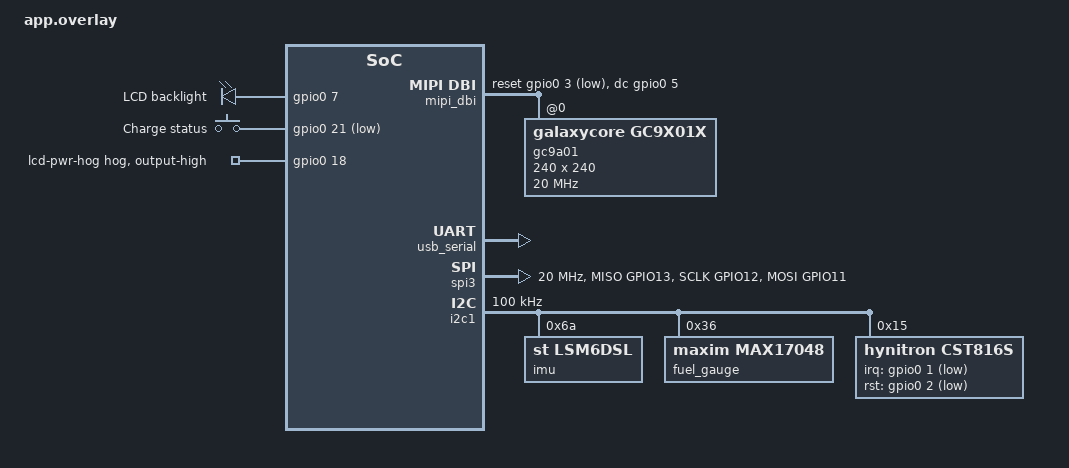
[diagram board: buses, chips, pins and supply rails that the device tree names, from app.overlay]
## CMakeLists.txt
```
cmake_minimum_required(VERSION 3.20.0)

set(BOARD esp32s3_devkitc/esp32s3/procpu CACHE STRING "Default Zephyr board")

find_package(Zephyr REQUIRED HINTS $ENV{ZEPHYR_BASE})
project(hacktor_watch)

target_sources(app PRIVATE
    src/main.c
    src/app_state.h
    src/display_manager.c
    src/graphics.c
    src/watchface.c
    src/backlight.c
    src/battery_monitor.c
    src/imu.c
    src/steps.c
    src/time_keeper.c
    src/info_screen.c
    src/power_manager.c
    src/system_stats.c
)

target_include_directories(app PRIVATE src)
```

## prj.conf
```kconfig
CONFIG_CONSOLE=y
CONFIG_UART_CONSOLE=y
CONFIG_SERIAL=y
CONFIG_SERIAL_ESP32_USB=y
CONFIG_SHELL=y
CONFIG_SHELL_BACKEND_SERIAL=y
CONFIG_SHELL_PROMPT_UART="hacktor:~$ "
CONFIG_SHELL_STACK_SIZE=4096
CONFIG_GPIO=y
CONFIG_PRINTK=y
CONFIG_SPI=y
CONFIG_I2C=y
CONFIG_SENSOR=y
CONFIG_LSM6DSL=y
CONFIG_DISPLAY=y
CONFIG_GC9X01X=y
CONFIG_MIPI_DBI=y
CONFIG_MIPI_DBI_SPI=y
CONFIG_FUEL_GAUGE=y
CONFIG_MAX17048=y
CONFIG_LOG=y
CONFIG_MAIN_STACK_SIZE=8192
CONFIG_NEWLIB_LIBC=y
CONFIG_NEWLIB_LIBC_FLOAT_PRINTF=y
CONFIG_CBPRINTF_FP_SUPPORT=y
```

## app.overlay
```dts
#include <zephyr/dt-bindings/display/panel.h>
#include <zephyr/dt-bindings/gpio/gpio.h>
#include <zephyr/dt-bindings/i2c/i2c.h>
#include <zephyr/dt-bindings/input/input-event-codes.h>
#include <zephyr/dt-bindings/pinctrl/esp-pinctrl-common.h>
#include <zephyr/dt-bindings/pinctrl/esp32s3-gpio-sigmap.h>
#include <zephyr/dt-bindings/pinctrl/esp32s3-pinctrl.h>

/ {
	chosen {
		zephyr,console = &usb_serial;
		zephyr,shell-uart = &usb_serial;
		zephyr,display = &gc9a01;
		zephyr,touch = &cst816s;
	};

	mipi_dbi {
		compatible = "zephyr,mipi-dbi-spi";
		spi-dev = <&spi3>;
		dc-gpios = <&gpio0 5 GPIO_ACTIVE_HIGH>;
		reset-gpios = <&gpio0 3 GPIO_ACTIVE_LOW>;
		write-only;
		#address-cells = <1>;
		#size-cells = <0>;

		gc9a01: gc9a01@0 {
			compatible = "galaxycore,gc9x01x";
			reg = <0>;
			status = "okay";
			
			orientation = "180";
			mipi-max-frequency = <20000000>;
			mipi-mode = "MIPI_DBI_MODE_SPI_4WIRE";
			pixel-format = <PANEL_PIXEL_FORMAT_RGB_565>;
			width = <240>;
			height = <240>;
			display-inversion;
		};
	};

	leds {
		compatible = "gpio-leds";

		lcd_backlight: lcd_backlight {
			gpios = <&gpio0 7 GPIO_ACTIVE_HIGH>;
			label = "LCD backlight";
		};
	};

	charger_inputs {
		compatible = "gpio-keys";

		charger_status: charger_status {
			gpios = <&gpio0 21 (GPIO_PULL_UP | GPIO_ACTIVE_LOW)>;
			label = "Charge status";
			zephyr,code = <INPUT_KEY_F24>;
		};
	};
};

&usb_serial {
	status = "okay";
};

&pinctrl {
	/* LCD is wired to SPI3 on GPIO12/11/13. */
	spim3_lcd_default: spim3_lcd_default {
		group1 {
			pinmux = <SPIM3_MISO_GPIO13>, <SPIM3_SCLK_GPIO12>;
		};

		group2 {
			pinmux = <SPIM3_MOSI_GPIO11>;
			output-low;
		};
	};

	i2c1_touch_default: i2c1_touch_default {
		group1 {
			pinmux = <I2C1_SDA_GPIO8>, <I2C1_SCL_GPIO9>;
			bias-pull-up;
			drive-open-drain;
			output-high;
		};
	};
};

&spi3 {
	#address-cells = <1>;
	#size-cells = <0>;
	status = "okay";
	pinctrl-0 = <&spim3_lcd_default>;
	pinctrl-names = "default";
	clock-frequency = <20000000>;
	cs-gpios = <&gpio0 4 GPIO_ACTIVE_LOW>;
};

&i2c1 {
	status = "okay";
	clock-frequency = <I2C_BITRATE_STANDARD>;
	pinctrl-0 = <&i2c1_touch_default>;
	pinctrl-names = "default";

	imu: lsm6dsl@6a {
		compatible = "st,lsm6dsl";
		reg = <0x6a>;
		status = "okay";
	};

	fuel_gauge: max17048@36 {
		compatible = "maxim,max17048";
		reg = <0x36>;
		status = "okay";
		
	};

	cst816s: cst81xx@15 {
		compatible = "hynitron,cst816s";
		reg = <0x15>;
		status = "okay";
		
		irq-gpios = <&gpio0 1 (GPIO_PULL_UP | GPIO_ACTIVE_LOW)>;
		rst-gpios = <&gpio0 2 GPIO_ACTIVE_LOW>;
	};
};

&gpio0 {
	lcd-pwr-hog {
		gpio-hog;
		gpios = <18 GPIO_ACTIVE_HIGH>;
		output-high;
	};
};

&{/buttons} {
	imu_wake1 {
		gpios = <&gpio0 17 GPIO_ACTIVE_HIGH>;
		label = "IMU INT1";
		zephyr,code = <INPUT_KEY_WAKEUP>;
	};

	imu_wake2 {
		gpios = <&gpio0 14 GPIO_ACTIVE_HIGH>;
		label = "IMU INT2";
		zephyr,code = <INPUT_KEY_WAKEUP>;
	};
};
```

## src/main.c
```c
#include <zephyr/kernel.h>
#include <zephyr/device.h>
#include <zephyr/drivers/gpio.h>
#include <zephyr/input/input.h>
#include <time.h>

#include "app_state.h"
#include "display_manager.h"
#include "graphics.h"
#include "watchface.h"
#include "backlight.h"
#include "battery_monitor.h"
#include "imu.h"
#include "steps.h"
#include "info_screen.h"
#include "time_keeper.h"
#include <zephyr/logging/log.h>
LOG_MODULE_REGISTER(hacktor, LOG_LEVEL_INF);

#define BTN0_NODE DT_ALIAS(sw0)
static const struct gpio_dt_spec btn0 = GPIO_DT_SPEC_GET(BTN0_NODE, gpios);

static struct app_runtime global_runtime;

struct app_runtime *app_state_get(void) {
    return &global_runtime;
}

static void handle_info_button(const struct device *display) {
    static bool last_pressed = false;
    bool pressed = false;
    if (gpio_is_ready_dt(&btn0)) {
        pressed = gpio_pin_get_dt(&btn0) > 0;
    }

    if (pressed && !last_pressed) {
        struct app_runtime *rt = app_state_get();
        rt->power.display_on = true;
        rt->power.display_expire_ms = k_uptime_get_32() + 10000;
        rt->display.full_refresh = true;

        if (rt->display.active_screen == SCREEN_WATCHFACE) {
            rt->display.active_screen = SCREEN_INFO;
        } else {
            rt->display.active_screen = SCREEN_WATCHFACE;
            watchface_draw_full(display, rt);
        }
    }
    last_pressed = pressed;
}

static void refresh_display_if_needed(const struct device *display) {
    struct app_runtime *rt = app_state_get();
    if (!rt->power.display_on) return;

    uint32_t now = k_uptime_get_32();
    uint32_t elapsed_s = (now - rt->display.last_tick_ms) / 1000;
    if (elapsed_s == 0) return;

    time_keeper_apply_elapsed_walltime(elapsed_s);
    rt->display.last_tick_ms += elapsed_s * 1000;

    if (rt->display.active_screen == SCREEN_WATCHFACE) {
        watchface_draw_full(display, rt);
    } else if (rt->display.active_screen == SCREEN_INFO) {
        info_screen_draw(display, rt);
    }
}

int main(void) {
    if (gpio_is_ready_dt(&btn0)) {
        gpio_pin_configure_dt(&btn0, GPIO_INPUT | GPIO_PULL_UP);
    }

    display_manager_init();
    const struct device *display = display_manager_get_device();
    display_manager_reinitialize_after_wake();

    backlight_init();
    watchface_init();
    battery_monitor_init();
    imu_init();
    uint16_t initial_steps = 0;
    if (imu_wait_who_am_i(400)) {
        imu_soft_reset();
        imu_enable_hardware_pedometer(&initial_steps);
        imu_enable_tilt_on_int2();
    }
    steps_init(initial_steps);
    time_keeper_init();

    struct app_runtime *rt = app_state_get();
    rt->display.last_tick_ms = k_uptime_get_32();
    rt->display.active_screen = SCREEN_WATCHFACE;
    rt->power.display_on = true;
    rt->power.display_expire_ms = rt->display.last_tick_ms + 10000;

    graphics_fill_screen(display, 0x0000); // COLOR_BG
    watchface_draw_full(display, rt);
    backlight_set_duty(255);

    while (1) {
        handle_info_button(display);
        refresh_display_if_needed(display);
        battery_monitor_poll();
        steps_poll();
        
        if (rt->power.display_on && k_uptime_get_32() > rt->power.display_expire_ms) {
            rt->power.display_on = false;
            backlight_set_duty(0);
        }

        k_msleep(50);
    }
    return 0;
}
```

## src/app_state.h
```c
#ifndef APP_STATE_H_
#define APP_STATE_H_

#include <stdint.h>
#include <stdbool.h>
#include <time.h>

typedef enum {
    SCREEN_WATCHFACE,
    SCREEN_INFO
} screen_t;

struct display_state {
    struct tm current_time;
    uint32_t last_tick_ms;
    uint32_t rtc_base_ms;
    screen_t active_screen;
    bool full_refresh;
    uint32_t info_shown_version;
    int info_last_drawn_second;
    int prev_hour_x, prev_hour_y;
    int prev_min_x, prev_min_y;
    int prev_sec_x, prev_sec_y;
    int prev_sec_tail_x, prev_sec_tail_y;
};

struct power_state {
    bool display_on;
    uint32_t display_expire_ms;
    bool pending_sleep;
    bool pending_panel_off;
    volatile bool tilt_irq_flag;
};

struct battery_state {
    uint8_t percent;
    float voltage;
    uint32_t last_poll_ms;
};

struct app_runtime {
    struct display_state display;
    struct power_state power;
    struct battery_state battery;
};

struct app_runtime *app_state_get(void);

#endif /* APP_STATE_H_ */
```

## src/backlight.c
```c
#include "backlight.h"
#include <zephyr/drivers/gpio.h>
#include <zephyr/device.h>

#define BACKLIGHT_NODE DT_NODELABEL(lcd_backlight)
static const struct gpio_dt_spec lcd_bl = GPIO_DT_SPEC_GET(BACKLIGHT_NODE, gpios);

void backlight_init(void) {
    if (gpio_is_ready_dt(&lcd_bl)) {
        gpio_pin_configure_dt(&lcd_bl, GPIO_OUTPUT_ACTIVE);
    }
}

void backlight_set_duty(uint8_t duty) {
    if (gpio_is_ready_dt(&lcd_bl)) {
        gpio_pin_set_dt(&lcd_bl, duty > 0 ? 1 : 0);
    }
}
```

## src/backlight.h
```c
#ifndef BACKLIGHT_H_
#define BACKLIGHT_H_

#include <stdint.h>

void backlight_init(void);
void backlight_set_duty(uint8_t duty);

#endif /* BACKLIGHT_H_ */
```

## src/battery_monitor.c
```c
#include "battery_monitor.h"
#include "app_state.h"
#include <zephyr/kernel.h>
#include <zephyr/device.h>
#include <zephyr/drivers/fuel_gauge.h>
#include <zephyr/logging/log.h>
LOG_MODULE_DECLARE(hacktor, LOG_LEVEL_INF);

#define FG_NODE DT_NODELABEL(fuel_gauge)
static const struct device *fg_dev = DEVICE_DT_GET(FG_NODE);

void battery_monitor_init(void) {
    if (!device_is_ready(fg_dev)) {
        LOG_ERR("Fuel gauge device not ready");
    }
}

void battery_monitor_poll(void) {
    struct app_runtime *rt = app_state_get();
    if (rt->battery.last_poll_ms != 0 && (k_uptime_get_32() - rt->battery.last_poll_ms < 60000)) return;

    if (!device_is_ready(fg_dev)) return;

    union fuel_gauge_prop_val val;

    if (fuel_gauge_get_prop(fg_dev, FUEL_GAUGE_RELATIVE_STATE_OF_CHARGE, &val) == 0) {
        rt->battery.percent = val.relative_state_of_charge;
    }

    if (fuel_gauge_get_prop(fg_dev, FUEL_GAUGE_VOLTAGE, &val) == 0) {
        // Zephyr voltage is in microvolts (uV)
        rt->battery.voltage = (float)val.voltage / 1000000.0f;
    }

    rt->battery.last_poll_ms = k_uptime_get_32();
}
```

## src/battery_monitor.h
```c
#ifndef BATTERY_MONITOR_H_
#define BATTERY_MONITOR_H_

void battery_monitor_init(void);
void battery_monitor_poll(void);

#endif /* BATTERY_MONITOR_H_ */
```

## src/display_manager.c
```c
#include "display_manager.h"
#include <zephyr/drivers/display.h>

#define DISPLAY_NODE DT_CHOSEN(zephyr_display)

static const struct device *display_dev;

void display_manager_init(void) {
    display_dev = DEVICE_DT_GET(DISPLAY_NODE);
    if (!device_is_ready(display_dev)) {
        // Handle error
    }
}

const struct device *display_manager_get_device(void) {
    return display_dev;
}

void display_manager_reinitialize_after_wake(void) {
    if (display_dev) {
        display_blanking_off(display_dev);
    }
}
```

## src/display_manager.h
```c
#ifndef DISPLAY_MANAGER_H_
#define DISPLAY_MANAGER_H_

#include <zephyr/device.h>

void display_manager_init(void);
const struct device *display_manager_get_device(void);
void display_manager_reinitialize_after_wake(void);

#endif /* DISPLAY_MANAGER_H_ */
```

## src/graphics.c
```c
#include "graphics.h"
#include <zephyr/drivers/display.h>
#include <string.h>
#include <stdlib.h>
#include <math.h>

static const uint8_t kFont5x7[96][5] = {
  {0x00,0x00,0x00,0x00,0x00}, {0x00,0x00,0x5f,0x00,0x00}, {0x00,0x03,0x00,0x03,0x00}, {0x14,0x7f,0x14,0x7f,0x14},
  {0x24,0x2a,0x7f,0x2a,0x12}, {0x23,0x13,0x08,0x64,0x62}, {0x36,0x49,0x55,0x22,0x50}, {0x00,0x05,0x03,0x00,0x00},
  {0x00,0x1c,0x22,0x41,0x00}, {0x00,0x41,0x22,0x1c,0x00}, {0x14,0x08,0x3e,0x08,0x14}, {0x08,0x08,0x3e,0x08,0x08},
  {0x00,0x50,0x30,0x00,0x00}, {0x08,0x08,0x08,0x08,0x08}, {0x00,0x60,0x60,0x00,0x00}, {0x20,0x10,0x08,0x04,0x02},
  {0x3e,0x51,0x49,0x45,0x3e}, {0x00,0x42,0x7f,0x40,0x00}, {0x42,0x61,0x51,0x49,0x46}, {0x21,0x41,0x45,0x4b,0x31},
  {0x18,0x14,0x12,0x7f,0x10}, {0x27,0x45,0x45,0x45,0x39}, {0x3c,0x4a,0x49,0x49,0x30}, {0x01,0x71,0x09,0x05,0x03},
  {0x36,0x49,0x49,0x49,0x36}, {0x06,0x49,0x49,0x29,0x1e}, {0x00,0x36,0x36,0x00,0x00}, {0x00,0x56,0x36,0x00,0x00},
  {0x08,0x14,0x22,0x41,0x00}, {0x14,0x14,0x14,0x14,0x14}, {0x00,0x41,0x22,0x14,0x08}, {0x02,0x01,0x51,0x09,0x06},
  {0x3e,0x41,0x5d,0x59,0x4e}, {0x7e,0x11,0x11,0x11,0x7e}, {0x7f,0x49,0x49,0x49,0x36}, {0x3e,0x41,0x41,0x41,0x22},
  {0x7f,0x41,0x41,0x22,0x1c}, {0x7f,0x49,0x49,0x49,0x41}, {0x7f,0x09,0x09,0x09,0x01}, {0x3e,0x41,0x49,0x49,0x7a},
  {0x7f,0x08,0x08,0x08,0x7f}, {0x00,0x41,0x7f,0x41,0x00}, {0x20,0x40,0x41,0x3f,0x01}, {0x7f,0x08,0x14,0x22,0x41},
  {0x7f,0x40,0x40,0x40,0x40}, {0x7f,0x02,0x0c,0x02,0x7f}, {0x7f,0x04,0x08,0x10,0x7f}, {0x3e,0x41,0x41,0x41,0x3e},
  {0x7f,0x09,0x09,0x09,0x06}, {0x3e,0x41,0x51,0x21,0x5e}, {0x7f,0x09,19,0x29,0x46}, {0x26,0x49,0x49,0x49,0x32},
  {0x01,0x01,0x7f,0x01,0x01}, {0x3f,0x40,0x40,0x40,0x3f}, {0x1f,0x20,0x40,0x20,0x1f}, {0x7f,0x20,0x18,0x20,0x7f},
  {0x63,0x14,0x08,0x14,0x63}, {0x07,0x08,0x70,0x08,0x07}, {0x61,0x51,0x49,0x45,0x43}, {0x00,0x7f,0x41,0x41,0x00},
  {0x02,0x04,0x08,0x10,0x20}, {0x00,0x41,0x41,0x7f,0x00}, {0x04,0x02,0x01,0x02,0x04}, {0x80,0x80,0x80,0x80,0x80},
  {0x00,0x01,0x02,0x04,0x00}, {0x20,0x54,0x54,0x54,0x78}, {0x7f,0x48,0x44,0x44,0x38}, {0x38,0x44,0x44,0x44,0x20},
  {0x38,0x44,0x44,0x48,0x7f}, {0x38,0x54,0x54,0x54,0x18}, {0x08,0x7e,0x09,0x01,0x02}, {0x0c,0x52,0x52,0x52,0x3e},
  {0x7f,0x08,0x04,0x04,0x78}, {0x00,0x44,0x7d,0x40,0x00}, {0x20,0x40,0x44,0x3d,0x00}, {0x7f,0x10,0x28,0x44,0x00},
  {0x00,0x41,0x7f,0x40,0x00}, {0x7c,0x04,0x18,0x04,0x78}, {0x7c,0x08,0x04,0x04,0x78}, {0x38,0x44,0x44,0x44,0x38},
  {0x7c,0x14,0x14,0x14,0x08}, {0x08,0x14,0x14,0x18,0x7c}, {0x7c,0x08,0x04,0x04,0x08}, {0x48,0x54,0x54,0x54,0x20},
  {0x04,0x3f,0x44,0x40,20}, {0x3c,0x40,0x40,20,0x7c}, {0x1c,0x20,0x40,20,0x1c}, {0x3c,0x40,0x30,0x40,0x3c},
  {0x44,0x28,10,0x28,0x44}, {0x0c,0x50,0x50,0x50,0x3c}, {0x44,0x64,0x54,0x4c,0x44}, {0x00,0x08,0x36,0x41,0x00},
  {0x00,0x00,0x7f,0x00,0x00}, {0x00,0x41,0x36,0x08,0x00}, {0x10,0x08,0x08,0x10,0x08}, {0x00,0x00,0x00,0x00,0x00}
};

void graphics_draw_pixel(const struct device *dev, int16_t x, int16_t y, uint16_t color) {
    struct display_capabilities caps;
    display_get_capabilities(dev, &caps);
    if (x < 0 || y < 0 || x >= caps.x_resolution || y >= caps.y_resolution) return;

    struct display_buffer_descriptor desc = {
        .buf_size = 2,
        .width = 1,
        .height = 1,
        .pitch = 1
    };
    uint16_t swapped = __builtin_bswap16(color);
    display_write(dev, x, y, &desc, &swapped);
}

void graphics_fill_rect(const struct device *dev, int16_t x, int16_t y, int16_t w, int16_t h, uint16_t color) {
    struct display_capabilities caps;
    display_get_capabilities(dev, &caps);

    if (x >= caps.x_resolution || y >= caps.y_resolution || x + w <= 0 || y + h <= 0) return;

    int16_t x0 = x < 0 ? 0 : x;
    int16_t y0 = y < 0 ? 0 : y;
    int16_t x1 = (x + w) > caps.x_resolution ? caps.x_resolution : (x + w);
    int16_t y1 = (y + h) > caps.y_resolution ? caps.y_resolution : (y + h);

    int16_t actual_w = x1 - x0;
    int16_t actual_h = y1 - y0;

    uint16_t swapped = __builtin_bswap16(color);
    uint16_t *line_buf = malloc(actual_w * 2);
    if (!line_buf) return;

    for (int i = 0; i < actual_w; i++) line_buf[i] = swapped;

    struct display_buffer_descriptor desc = {
        .buf_size = actual_w * 2,
        .width = actual_w,
        .height = 1,
        .pitch = actual_w
    };

    for (int i = 0; i < actual_h; i++) {
        display_write(dev, x0, y0 + i, &desc, line_buf);
    }
    free(line_buf);
}

void graphics_fill_screen(const struct device *dev, uint16_t color) {
    struct display_capabilities caps;
    display_get_capabilities(dev, &caps);
    graphics_fill_rect(dev, 0, 0, caps.x_resolution, caps.y_resolution, color);
}

void graphics_draw_line(const struct device *dev, int16_t x0, int16_t y0, int16_t x1, int16_t y1, uint16_t color) {
    if (x0 == x1) {
        if (y0 > y1) { int16_t t = y0; y0 = y1; y1 = t; }
        graphics_fill_rect(dev, x0, y0, 1, y1 - y0 + 1, color);
        return;
    }
    if (y0 == y1) {
        if (x0 > x1) { int16_t t = x0; x0 = x1; x1 = t; }
        graphics_fill_rect(dev, x0, y0, x1 - x0 + 1, 1, color);
        return;
    }

    int16_t dx = abs(x1 - x0), sx = x0 < x1 ? 1 : -1;
    int16_t dy = -abs(y1 - y0), sy = y0 < y1 ? 1 : -1;
    int16_t err = dx + dy, e2;

    for (;;) {
        graphics_draw_pixel(dev, x0, y0, color);
        if (x0 == x1 && y0 == y1) break;
        e2 = 2 * err;
        if (e2 >= dy) { err += dy; x0 += sx; }
        if (e2 <= dx) { err += dx; y0 += sy; }
    }
}

void graphics_fill_triangle(const struct device *dev, int16_t x0, int16_t y0, int16_t x1, int16_t y1, int16_t x2, int16_t y2, uint16_t color) {
    int16_t a, b, y, last;
    if (y0 > y1) { int16_t t; t = y0; y0 = y1; y1 = t; t = x0; x0 = x1; x1 = t; }
    if (y1 > y2) { int16_t t; t = y1; y1 = y2; y2 = t; t = x1; x1 = x2; x2 = t; }
    if (y0 > y1) { int16_t t; t = y0; y0 = y1; y1 = t; t = x0; x0 = x1; x1 = t; }

    if (y0 == y2) {
        a = b = x0;
        if (x1 < a) a = x1; else if (x1 > b) b = x1;
        if (x2 < a) a = x2; else if (x2 > b) b = x2;
        graphics_fill_rect(dev, a, y0, b - a + 1, 1, color);
        return;
    }

    int16_t dx01 = x1 - x0, dy01 = y1 - y0,
            dx02 = x2 - x0, dy02 = y2 - y0,
            dx12 = x2 - x1, dy12 = y2 - y1;
    int32_t sa = 0, sb = 0;

    if (y1 == y2) last = y1; else last = y1 - 1;

    for (y = y0; y <= last; y++) {
        a = x0 + sa / dy01;
        b = x0 + sb / dy02;
        sa += dx01;
        sb += dx02;
        if (a > b) { int16_t t = a; a = b; b = t; }
        graphics_fill_rect(dev, a, y, b - a + 1, 1, color);
    }

    sa = (int32_t)dx12 * (y - y1);
    sb = (int32_t)dx02 * (y - y0);
    for (; y <= y2; y++) {
        a = x1 + sa / dy12;
        b = x0 + sb / dy02;
        sa += dx12;
        sb += dx02;
        if (a > b) { int16_t t = a; a = b; b = t; }
        graphics_fill_rect(dev, a, y, b - a + 1, 1, color);
    }
}

void graphics_fill_circle(const struct device *dev, int16_t x0, int16_t y0, int16_t r, uint16_t color) {
    graphics_fill_rect(dev, x0 - r, y0, 2 * r + 1, 1, color);
    int16_t f = 1 - r;
    int16_t ddF_x = 1;
    int16_t ddF_y = -2 * r;
    int16_t x = 0;
    int16_t y = r;

    while (x < y) {
        if (f >= 0) {
            y--;
            ddF_y += 2;
            f += ddF_y;
        }
        x++;
        ddF_x += 2;
        f += ddF_x;

        graphics_fill_rect(dev, x0 - x, y0 + y, 2 * x + 1, 1, color);
        graphics_fill_rect(dev, x0 - x, y0 - y, 2 * x + 1, 1, color);
        graphics_fill_rect(dev, x0 - y, y0 + x, 2 * y + 1, 1, color);
        graphics_fill_rect(dev, x0 - y, y0 - x, 2 * y + 1, 1, color);
    }
}

static void graphics_draw_char(const struct device *dev, int16_t x, int16_t y, char c, uint16_t color_text, uint16_t color_bg, uint8_t size) {
    if (c < 32 || c > 127) c = 32;
    uint8_t idx = c - 32;
    for (int8_t i = 0; i < 5; i++) {
        uint8_t line = kFont5x7[idx][i];
        for (int8_t j = 0; j < 8; j++, line >>= 1) {
            if (line & 1) {
                if (size == 1) graphics_draw_pixel(dev, x + i, y + j, color_text);
                else graphics_fill_rect(dev, x + i * size, y + j * size, size, size, color_text);
            } else if (color_bg != color_text) {
                if (size == 1) graphics_draw_pixel(dev, x + i, y + j, color_bg);
                else graphics_fill_rect(dev, x + i * size, y + j * size, size, size, color_bg);
            }
        }
    }
}

void graphics_draw_text(const struct device *dev, int16_t x, int16_t y, const char *text, uint16_t color_text, uint16_t color_bg, uint8_t size) {
    while (*text) {
        graphics_draw_char(dev, x, y, *text++, color_text, color_bg, size);
        x += 6 * size;
    }
}
```

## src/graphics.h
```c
#ifndef GRAPHICS_H_
#define GRAPHICS_H_

#include <stdint.h>
#include <zephyr/device.h>

void graphics_fill_screen(const struct device *dev, uint16_t color);
void graphics_fill_rect(const struct device *dev, int16_t x, int16_t y, int16_t w, int16_t h, uint16_t color);
void graphics_draw_rect(const struct device *dev, int16_t x, int16_t y, int16_t w, int16_t h, uint16_t color);
void graphics_draw_line(const struct device *dev, int16_t x0, int16_t y0, int16_t x1, int16_t y1, uint16_t color);
void graphics_fill_triangle(const struct device *dev, int16_t x0, int16_t y0, int16_t x1, int16_t y1, int16_t x2, int16_t y2, uint16_t color);
void graphics_fill_circle(const struct device *dev, int16_t x0, int16_t y0, int16_t r, uint16_t color);
void graphics_draw_text(const struct device *dev, int16_t x, int16_t y, const char *text, uint16_t color_text, uint16_t color_bg, uint8_t text_size);
void graphics_draw_pixel(const struct device *dev, int16_t x, int16_t y, uint16_t color);

#endif /* GRAPHICS_H_ */
```

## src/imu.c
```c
#include "imu.h"
#include <zephyr/drivers/sensor.h>
#include <zephyr/drivers/i2c.h>
#include <zephyr/device.h>
#include <zephyr/kernel.h>

#include <zephyr/logging/log.h>
LOG_MODULE_DECLARE(hacktor, LOG_LEVEL_INF);

#define IMU_NODE DT_NODELABEL(imu)
static const struct device *imu_dev = DEVICE_DT_GET(IMU_NODE);
static const struct device *i2c_dev = DEVICE_DT_GET(DT_BUS(IMU_NODE));

void imu_init(void) {
    if (!device_is_ready(imu_dev)) {
        LOG_ERR("IMU sensor device not ready");
    }
}

uint8_t imu_read8(uint8_t reg) {
    uint8_t val = 0;
    i2c_reg_read_byte(i2c_dev, IMU_I2C_ADDR, reg, &val);
    return val;
}

void imu_write8(uint8_t reg, uint8_t val) {
    i2c_reg_write_byte(i2c_dev, IMU_I2C_ADDR, reg, val);
}

bool imu_read16(uint8_t reg, uint16_t *out) {
    uint8_t buf[2];
    if (i2c_burst_read(i2c_dev, IMU_I2C_ADDR, reg, buf, 2) != 0) {
        return false;
    }
    *out = (uint16_t)(buf[0] | (buf[1] << 8));
    return true;
}

bool imu_wait_who_am_i(uint16_t timeout_ms) {
    // Zephyr driver handles this, but for app logic:
    return device_is_ready(imu_dev);
}

void imu_soft_reset(void) {
    // Zephyr driver handles this at boot
}

bool imu_enable_hardware_pedometer(uint16_t *initial_step_count) {
    *initial_step_count = 0;
    
    // Set ODR using Sensor API if possible, or direct I2C
    struct sensor_value odr = { .val1 = 104, .val2 = 0 };
    sensor_attr_set(imu_dev, SENSOR_CHAN_ACCEL_XYZ, SENSOR_ATTR_SAMPLING_FREQUENCY, &odr);

    // Embedded functions setup (manual I2C as driver doesn't support)
    imu_write8(REG_FUNC_CFG_ACCESS, 0x80);
    imu_write8(REG_EMB_FUNC_EN_A, imu_read8(REG_EMB_FUNC_EN_A) | EMB_PEDO_EN_A_BIT);
    imu_write8(REG_EMB_FUNC_EN_B, imu_read8(REG_EMB_FUNC_EN_B) | EMB_STEP_DET_EN_B);
    imu_write8(REG_FUNC_CFG_ACCESS, 0x00);
    imu_write8(REG_CTRL10_C, 0x3C);
    imu_write8(REG_FUNC_CFG_ACCESS, 0x80);
    imu_write8(REG_PEDO_DEB_REG, imu_read8(REG_PEDO_DEB_REG) | 0x02);
    imu_write8(REG_FUNC_CFG_ACCESS, 0x00);
    imu_write8(REG_MD1_CFG, MD1_INT1_STEP_DET);
    (void)imu_read8(REG_FUNC_SRC);
    
    uint16_t s16;
    if (imu_read16(REG_STEP_COUNTER_L, &s16)) {
        *initial_step_count = s16;
    }
    return true;
}

bool imu_enable_tilt_on_int2(void) {
    imu_write8(REG_FUNC_CFG_ACCESS, 0x80);
    uint8_t enB = imu_read8(REG_EMB_FUNC_EN_B) | EMB_TILT_EN_B;
    imu_write8(REG_EMB_FUNC_EN_B, enB);
    imu_write8(REG_FUNC_CFG_ACCESS, 0x00);

    imu_write8(REG_WAKE_UP_THS, 0x04);
    imu_write8(REG_WAKE_UP_DUR, 0x00);

    imu_write8(REG_MD2_CFG, MD2_INT2_TILT);

    (void)imu_read8(REG_TILT_SRC);
    (void)imu_read8(REG_FUNC_SRC);

    return true;
}

void imu_set_accel_odr(uint8_t odr_bits) {
    // Use Sensor API
    uint32_t freq = 0;
    switch(odr_bits & 0xF0) {
        case 0x10: freq = 13; break;
        case 0x20: freq = 26; break;
        case 0x30: freq = 52; break;
        case 0x40: freq = 104; break;
        case 0x50: freq = 208; break;
        default: break;
    }
    if (freq > 0) {
        struct sensor_value odr = { .val1 = freq, .val2 = 0 };
        sensor_attr_set(imu_dev, SENSOR_CHAN_ACCEL_XYZ, SENSOR_ATTR_SAMPLING_FREQUENCY, &odr);
    }
}
```

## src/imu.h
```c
#ifndef IMU_H_
#define IMU_H_

#include <stdint.h>
#include <stdbool.h>

#define IMU_I2C_ADDR 0x6A

// Register map constants
#define REG_WHO_AM_I        0x0F
#define REG_CTRL1_XL        0x10
#define REG_CTRL3_C         0x12
#define REG_CTRL10_C        0x19
#define REG_FUNC_CFG_ACCESS 0x01
#define REG_EMB_FUNC_EN_A   0x04
#define REG_EMB_FUNC_EN_B   0x05
#define REG_MD1_CFG         0x5E
#define REG_MD2_CFG         0x5F
#define REG_FUNC_SRC        0x53
#define REG_TILT_SRC        0x52
#define REG_STEP_COUNTER_L  0x4B
#define REG_PEDO_DEB_REG    0x2F
#define REG_WAKE_UP_THS     0x5B
#define REG_WAKE_UP_DUR     0x5C

// Bit definitions
#define CTRL3_C_BDU         (1 << 6)
#define CTRL3_C_IF_INC      (1 << 2)
#define CTRL3_C_SW_RESET    (1 << 0)
#define EMB_PEDO_EN_A_BIT   0x40
#define EMB_STEP_DET_EN_B   0x80
#define EMB_TILT_EN_B       0x20
#define MD1_INT1_STEP_DET   0x08
#define MD2_INT2_TILT       0x02

void imu_init(void);
uint8_t imu_read8(uint8_t reg);
void imu_write8(uint8_t reg, uint8_t val);
bool imu_read16(uint8_t reg, uint16_t *out);
bool imu_wait_who_am_i(uint16_t timeout_ms);
void imu_soft_reset(void);
bool imu_enable_hardware_pedometer(uint16_t *initial_step_count);
bool imu_enable_tilt_on_int2(void);
void imu_set_accel_odr(uint8_t odr_bits);

#endif /* IMU_H_ */
```

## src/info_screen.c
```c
#include "info_screen.h"
#include "graphics.h"
#include "steps.h"
#include <stdio.h>
#include <string.h>

void info_screen_draw(const struct device *display, struct app_runtime *rt) {
    if (rt->display.full_refresh) {
        graphics_fill_screen(display, 0x0000); // COLOR_BG
        graphics_draw_text(display, 80, 20, "INFO", 0xFFFF, 0x0000, 3);
        
        // Draw static labels
        graphics_draw_text(display, 40, 70,  "Batt: ", 0xFFFF, 0x0000, 2);
        graphics_draw_text(display, 40, 100, "V: ",    0xFFFF, 0x0000, 2);
        graphics_draw_text(display, 40, 130, "Steps: ", 0xFFFF, 0x0000, 2);
        graphics_draw_text(display, 40, 160, "Time: ",  0xFFFF, 0x0000, 2);
        
        rt->display.full_refresh = false;
    }

    char val_buf[24];

    // Update battery percent (pad to 4 chars "100%")
    sprintf(val_buf, "%3d%%", rt->battery.percent);
    graphics_draw_text(display, 112, 70, val_buf, 0xFFFF, 0x0000, 2);

    // Update voltage (pad to 6 chars "4.20V ")
    sprintf(val_buf, "%4.2fV", (double)rt->battery.voltage);
    graphics_draw_text(display, 76, 100, val_buf, 0xFFFF, 0x0000, 2);

    // Update steps (pad to 6 chars)
    sprintf(val_buf, "%6u", steps_get_today());
    graphics_draw_text(display, 124, 130, val_buf, 0xFFFF, 0x0000, 2);

    // Update time (fixed length HH:MM:SS)
    sprintf(val_buf, "%02d:%02d:%02d", 
            rt->display.current_time.tm_hour, 
            rt->display.current_time.tm_min, 
            rt->display.current_time.tm_sec);
    graphics_draw_text(display, 112, 160, val_buf, 0xFFFF, 0x0000, 2);
}
```
